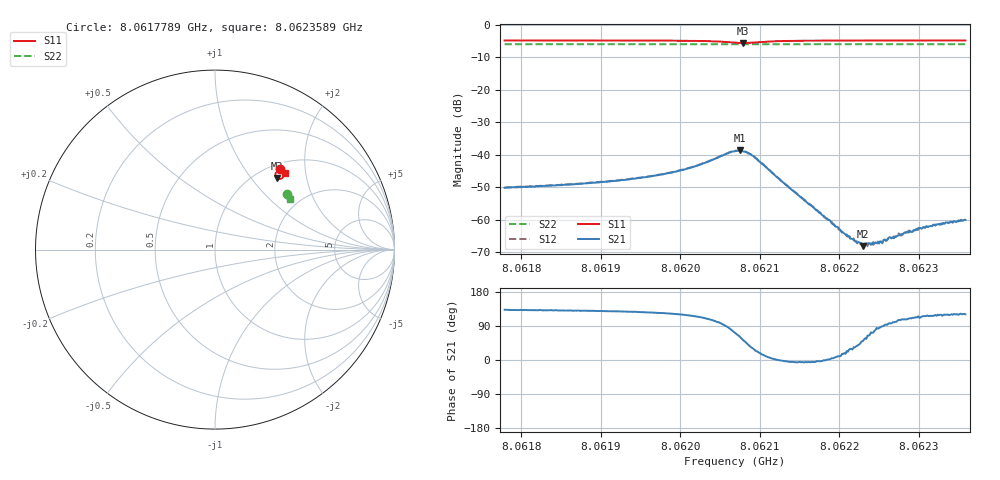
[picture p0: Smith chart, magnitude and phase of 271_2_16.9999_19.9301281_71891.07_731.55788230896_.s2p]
#  HZ  S  RI  R  50.00
! Rohde & Schwarz Vector Network Analyzer
! Rohde-Schwarz,ZNB20-2Port,1311601062101988,3.16
! Created: UTC 3/20/2024, 11:04:11 PM
! freq[Hz]  re:S11  im:S11  re:S21  im:S21  re:S12  im:S12  re:S22  im:S22
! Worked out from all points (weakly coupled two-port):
!   401 points, 8.0617789 GHz to 8.0623589 GHz, reference 50 ohm
!   highest |S21| = -38.60 dB at 8.0620747 GHz (marker M1); lowest = -68.0 dB at 8.0622298 GHz (marker M2)
!   lowest |S11| = -5.6 dB at 8.062079 GHz (marker M3), VSWR 3.22, Z = 61.4 + j67.7 ohm
!   |S11| at or under -10 dB: nowhere
!   |S22| runs from -6.0 to -5.9 dB; largest |S21 - S12| = 0.00085
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8.06177889e9  0.3628 0.4473  -0.00211 0.0023  -0.00198 0.00246  0.3984 0.3102
8.06187603e9  0.3699 0.4411  -0.00231 0.00274  -0.00216 0.00293  0.402 0.3052
8.06192533e9  0.3737 0.437  -0.00251 0.00322  -0.00232 0.0034  0.4039 0.3026
8.06197318e9  0.378 0.4313  -0.00277 0.00406  -0.00254 0.00424  0.4054 0.3002
8.06201523e9  0.3819 0.4217  -0.00286 0.00581  -0.00254 0.00603  0.407 0.2977
8.06206887e9  0.3597 0.3931  0.00351 0.0109  0.00422 0.0108  0.4072 0.2942
8.06207467e9  0.3506 0.3947  0.00552 0.0104  0.00616 0.00995  0.407 0.2941
8.06207902e9  0.3443 0.3984  0.00686 0.00899  0.00752 0.00875  0.4069 0.2941
8.06209352e9  0.3362 0.4189  0.0082 0.0042  0.00844 0.00373  0.4074 0.2945
8.06212977e9  0.3554 0.439  0.00375 -0.000158  0.00376 -0.000368  0.4097 0.2934
8.06216602e9  0.3668 0.4386  0.00161 -0.000141  0.0016 -0.000242  0.4114 0.2915
8.06220662e9  0.3736 0.4359  0.000583 0.000192  0.00059 0.000154  0.413 0.2894
8.06221967e9  0.3754 0.4351  0.000393 0.000258  0.000416 0.000221  0.4136 0.2887
8.06222982e9  0.3765 0.4344  0.000255 0.000303  0.000272 0.0003  0.4138 0.2882
8.06224142e9  0.3778 0.4337  0.000131 0.000408  0.000145 0.000409  0.4143 0.2875
8.06225156e9  0.3787 0.433  3.25e-05 0.000464  8.34e-05 0.000454  0.4146 0.287
8.06226316e9  0.3798 0.4323  -6.78e-05 0.000537  -1.02e-05 0.00053  0.4149 0.2865
8.06226896e9  0.3803 0.432  -8.54e-05 0.000515  -5.34e-05 0.000556  0.4152 0.2861
8.06228491e9  0.3817 0.4309  -0.000189 0.00061  -0.000188 0.000626  0.4158 0.2851
8.06229651e9  0.3826 0.4302  -0.000274 0.000644  -0.000266 0.000663  0.4161 0.2846
8.06230376e9  0.3831 0.4298  -0.000304 0.000665  -0.000258 0.000728  0.4163 0.2843
8.06235886e9  0.3873 0.4267  -0.00051 0.000858  -0.000477 0.000911  0.4184 0.2814
